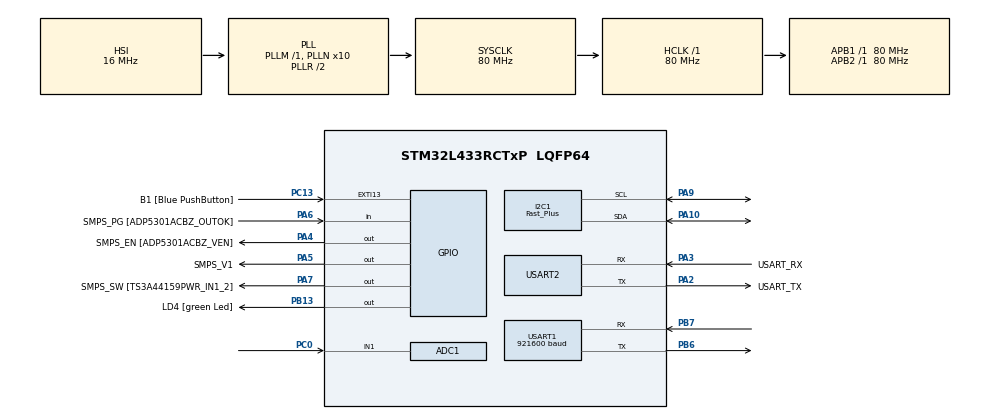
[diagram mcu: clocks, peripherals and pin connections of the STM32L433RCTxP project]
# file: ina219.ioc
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ADC1.Channel-1\#ChannelRegularConversion=ADC_CHANNEL_1
ADC1.NbrOfConversionFlag=1
ADC1.OffsetNumber-1\#ChannelRegularConversion=ADC_OFFSET_NONE
ADC1.Rank-1\#ChannelRegularConversion=1
ADC1.Resolution=ADC_RESOLUTION_8B
ADC1.SamplingTime-1\#ChannelRegularConversion=ADC_SAMPLETIME_2CYCLES_5
ADC1.master=1
Dma.I2C1_RX.0.Direction=DMA_PERIPH_TO_MEMORY
Dma.I2C1_RX.0.Instance=DMA1_Channel7
Dma.I2C1_RX.0.MemDataAlignment=DMA_MDATAALIGN_BYTE
Dma.I2C1_RX.0.MemInc=DMA_MINC_ENABLE
Dma.I2C1_RX.0.Mode=DMA_NORMAL
Dma.I2C1_RX.0.PeriphDataAlignment=DMA_PDATAALIGN_BYTE
Dma.I2C1_RX.0.PeriphInc=DMA_PINC_DISABLE
Dma.I2C1_RX.0.Priority=DMA_PRIORITY_LOW
Dma.Request0=I2C1_RX
I2C1.I2C_Speed_Mode=I2C_Fast_Plus
I2C1.Timing=0x00300F33
Mcu.Family=STM32L4
Mcu.Name=STM32L433RCTxP
Mcu.Package=LQFP64
NVIC.ADC1_IRQn=true\:0\:0\:false\:false\:true\:true\:true
NVIC.DMA1_Channel7_IRQn=true\:0\:0\:false\:false\:true\:false\:true
NVIC.PriorityGroup=NVIC_PRIORITYGROUP_4
NVIC.USART1_IRQn=true\:0\:0\:false\:false\:true\:true\:true
PA10.Mode=I2C
PA10.Signal=I2C1_SDA
PA13\ (JTMS-SWDIO).GPIO_Label=TMS
PA13\ (JTMS-SWDIO).Mode=Serial_Wire
PA13\ (JTMS-SWDIO).Signal=SYS_JTMS-SWDIO
PA14\ (JTCK-SWCLK).GPIO_Label=TCK
PA14\ (JTCK-SWCLK).Mode=Serial_Wire
PA14\ (JTCK-SWCLK).Signal=SYS_JTCK-SWCLK
PA2.GPIO_Label=USART_TX
PA2.GPIO_Mode=GPIO_MODE_AF_PP
PA2.GPIO_PuPd=GPIO_NOPULL
PA2.GPIO_Speed=GPIO_SPEED_FREQ_VERY_HIGH
PA2.Mode=Asynchronous
PA2.Signal=USART2_TX
PA3.GPIO_Label=USART_RX
PA3.GPIO_Mode=GPIO_MODE_AF_PP
PA3.GPIO_PuPd=GPIO_NOPULL
PA3.GPIO_Speed=GPIO_SPEED_FREQ_VERY_HIGH
PA3.Mode=Asynchronous
PA3.Signal=USART2_RX
PA4.GPIO_Label=SMPS_EN [ADP5301ACBZ_VEN]
PA4.Signal=GPIO_Output
PA5.GPIO_Label=SMPS_V1
PA5.GPIO_ModeDefaultOutputPP=GPIO_MODE_OUTPUT_PP
PA5.GPIO_PuPd=GPIO_NOPULL
PA5.GPIO_Speed=GPIO_SPEED_FREQ_LOW
PA5.Signal=GPIO_Output
PA6.GPIO_Label=SMPS_PG [ADP5301ACBZ_OUTOK]
PA6.GPIO_PuPd=GPIO_PULLUP
PA6.Signal=GPIO_Input
PA7.GPIO_Label=SMPS_SW [TS3A44159PWR_IN1_2]
PA7.Signal=GPIO_Output
PA9.Mode=I2C
PA9.Signal=I2C1_SCL
PB13.GPIO_Label=LD4 [green Led]
PB13.Signal=GPIO_Output
PB3\ (JTDO-TRACESWO).GPIO_Label=SWO
PB3\ (JTDO-TRACESWO).Signal=SYS_JTDO-SWO
PB6.Mode=Asynchronous
PB6.Signal=USART1_TX
PB7.Mode=Asynchronous
PB7.Signal=USART1_RX
PC0.Signal=ADCx_IN1
PC13.GPIO_Label=B1 [Blue PushButton]
PC13.GPIO_ModeDefaultEXTI=GPIO_MODE_IT_FALLING
PC13.GPIO_PuPd=GPIO_NOPULL
PC13.Signal=GPXTI13
PC14-OSC32_IN\ (PC14).Signal=RCC_OSC32_IN
PC15-OSC32_OUT\ (PC15).Signal=RCC_OSC32_OUT
PH0-OSC_IN\ (PH0).GPIO_Label=MCO
PH0-OSC_IN\ (PH0).Signal=RCC_OSC_IN
PH1-OSC_OUT\ (PH1).Signal=RCC_OSC_OUT
ProjectManager.HeapSize=0x200
ProjectManager.StackSize=0x400
ProjectManager.TargetToolchain=STM32CubeIDE
RCC.ADCFreq_Value=64000000
RCC.AHBFreq_Value=80000000
RCC.APB1Freq_Value=80000000
RCC.APB1TimFreq_Value=80000000
RCC.APB2Freq_Value=80000000
RCC.APB2TimFreq_Value=80000000
RCC.CortexFreq_Value=80000000
RCC.HCLKFreq_Value=80000000
RCC.HSE_VALUE=8000000
RCC.HSI48_VALUE=48000000
RCC.HSI_VALUE=16000000
RCC.LSE_VALUE=32768
RCC.MSI_VALUE=4000000
RCC.PLLN=10
RCC.PLLSourceVirtual=RCC_PLLSOURCE_HSI
RCC.PREFETCH_ENABLE=1
RCC.SYSCLKFreq_VALUE=80000000
RCC.SYSCLKSource=RCC_SYSCLKSOURCE_PLLCLK
RCC.USBFreq_Value=64000000
RCC.VCOOutputFreq_Value=160000000
SH.ADCx_IN1.0=ADC1_IN1,IN1-Single-Ended
USART1.BaudRate=921600
USART1.VirtualMode-Asynchronous=VM_ASYNC
USART2.VirtualMode-Asynchronous=VM_ASYNC
board=NUCLEO-L433RC-P

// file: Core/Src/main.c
/* USER CODE BEGIN Header */
/**
  ******************************************************************************
  * @file           : main.c
  * @brief          : Main program body
  ******************************************************************************
  * @attention
  *
  * <h2><center>&copy; Copyright (c) 2023 STMicroelectronics.
  * All rights reserved.</center></h2>
  *
  * This software component is licensed by ST under BSD 3-Clause license,
  * the "License"; You may not use this file except in compliance with the
  * License. You may obtain a copy of the License at:
  *                        opensource.org/licenses/BSD-3-Clause
  *
  ******************************************************************************
  */
/* USER CODE END Header */
#include "main.h"

/* USER CODE BEGIN Includes */
#include "ina219.h"
/* USER CODE END Includes */

ADC_HandleTypeDef hadc1;

I2C_HandleTypeDef hi2c1;
DMA_HandleTypeDef hdma_i2c1_rx;

UART_HandleTypeDef huart1;
UART_HandleTypeDef huart2;

/* USER CODE BEGIN PV */

extern int adrs_219;

/* USER CODE END PV */

void SystemClock_Config(void);
static void MX_GPIO_Init(void);
static void MX_I2C1_Init(void);
static void MX_DMA_Init(void);
static void MX_USART2_UART_Init(void);
static void MX_USART1_UART_Init(void);
static void MX_ADC1_Init(void);

/* USER CODE BEGIN 0 */
uint8_t str[16];
uint16_t ina_curr;
uint32_t ina_vol = 0;
uint32_t ina_pwr = 0;
uint8_t cnt = 0;
uint8_t channel=0;
uint8_t count_ADC;
uint8_t a;
uint8_t b;
int flag = 0;

/* USER CODE END 0 */

int main(void)
{

  /* MCU Configuration--------------------------------------------------------*/

  /* Reset of all peripherals, Initializes the Flash interface and the Systick. */
  HAL_Init();

  /* Configure the system clock */
  SystemClock_Config();

  /* Initialize all configured peripherals */
  MX_GPIO_Init();
  MX_I2C1_Init();
  MX_DMA_Init();
  MX_USART2_UART_Init();
  MX_USART1_UART_Init();
  MX_ADC1_Init();
  /* USER CODE BEGIN 2 */
  uint8_t data[2];
  //data[0]= 0x55;
  //data[1]= 0x11;

  //uint8_t Tumpoy_Andrey_V_1 = 0x55;
  //uint8_t Tumpoy_Andrey_V_2 = 0xAA;
  adrs_219 = 0x40;
  setCalibration_32V_2A();
  HAL_ADCEx_Calibration_Start (&hadc1,ADC_SINGLE_ENDED);
  HAL_Delay(10);

  /* USER CODE END 2 */

  /* Infinite loop */
  while (1)
  {

    /* USER CODE BEGIN 3 */
	  HAL_UART_Receive(&huart1,str, 1, 1000);
	  	  	  //HAL_UART_Transmit(&huart1,&str, sizeof(str), 100);

	  if (str[0] == 65) {
	  	  	  	  	  	 while (1) {
	  	  			  	  	  ina_curr = getCurrent_raw();

	  	  			  	  	  HAL_ADC_Start(&hadc1);
	  	  			  		  HAL_ADC_PollForConversion(&hadc1, 1);
	  	  			  	  	  count_ADC = HAL_ADC_GetValue(&hadc1);
	  	  			  	  	  HAL_ADC_Stop(&hadc1);
	  	  			  	  	  // HAL function calibrate

	  	  			  	  	  data[0] = (uint8_t)(ina_curr>>1);
	  	  			  	  	  //data[0]=2*data[0];
	  	  			  	  	  a=data[0];
	  	  			  	  	  data[1] = count_ADC;
	  	  			  	  	  b=data[1];
	  	  			  	  	  HAL_UART_Transmit(&huart1, data,2,10);

	  	  		 }

	  	  	  }
  }
  /* USER CODE END 3 */
}

void SystemClock_Config(void)
{
  RCC_OscInitTypeDef RCC_OscInitStruct = {0};
  RCC_ClkInitTypeDef RCC_ClkInitStruct = {0};

  /** Configure the main internal regulator output voltage
  */
  if (HAL_PWREx_ControlVoltageScaling(PWR_REGULATOR_VOLTAGE_SCALE1) != HAL_OK)
  {
    Error_Handler();
  }
  /** Initializes the RCC Oscillators according to the specified parameters
  * in the RCC_OscInitTypeDef structure.
  */
  RCC_OscInitStruct.OscillatorType = RCC_OSCILLATORTYPE_HSI;
  RCC_OscInitStruct.HSIState = RCC_HSI_ON;
  RCC_OscInitStruct.HSICalibrationValue = RCC_HSICALIBRATION_DEFAULT;
  RCC_OscInitStruct.PLL.PLLState = RCC_PLL_ON;
  RCC_OscInitStruct.PLL.PLLSource = RCC_PLLSOURCE_HSI;
  RCC_OscInitStruct.PLL.PLLM = 1;
  RCC_OscInitStruct.PLL.PLLN = 10;
  RCC_OscInitStruct.PLL.PLLP = RCC_PLLP_DIV7;
  RCC_OscInitStruct.PLL.PLLQ = RCC_PLLQ_DIV2;
  RCC_OscInitStruct.PLL.PLLR = RCC_PLLR_DIV2;
  if (HAL_RCC_OscConfig(&RCC_OscInitStruct) != HAL_OK)
  {
    Error_Handler();
  }
  /** Initializes the CPU, AHB and APB buses clocks
  */
  RCC_ClkInitStruct.ClockType = RCC_CLOCKTYPE_HCLK|RCC_CLOCKTYPE_SYSCLK
                              |RCC_CLOCKTYPE_PCLK1|RCC_CLOCKTYPE_PCLK2;
  RCC_ClkInitStruct.SYSCLKSource = RCC_SYSCLKSOURCE_PLLCLK;
  RCC_ClkInitStruct.AHBCLKDivider = RCC_SYSCLK_DIV1;
  RCC_ClkInitStruct.APB1CLKDivider = RCC_HCLK_DIV1;
  RCC_ClkInitStruct.APB2CLKDivider = RCC_HCLK_DIV1;

  if (HAL_RCC_ClockConfig(&RCC_ClkInitStruct, FLASH_LATENCY_4) != HAL_OK)
  {
    Error_Handler();
  }
}

static void MX_ADC1_Init(void)
{

  ADC_ChannelConfTypeDef sConfig = {0};

  /** Common config
  */
  hadc1.Instance = ADC1;
  hadc1.Init.ClockPrescaler = ADC_CLOCK_ASYNC_DIV1;
  hadc1.Init.Resolution = ADC_RESOLUTION_8B;
  hadc1.Init.DataAlign = ADC_DATAALIGN_RIGHT;
  hadc1.Init.ScanConvMode = ADC_SCAN_DISABLE;
  hadc1.Init.EOCSelection = ADC_EOC_SINGLE_CONV;
  hadc1.Init.LowPowerAutoWait = DISABLE;
  hadc1.Init.ContinuousConvMode = DISABLE;
  hadc1.Init.NbrOfConversion = 1;
  hadc1.Init.DiscontinuousConvMode = DISABLE;
  hadc1.Init.ExternalTrigConv = ADC_SOFTWARE_START;
  hadc1.Init.ExternalTrigConvEdge = ADC_EXTERNALTRIGCONVEDGE_NONE;
  hadc1.Init.DMAContinuousRequests = DISABLE;
  hadc1.Init.Overrun = ADC_OVR_DATA_PRESERVED;
  hadc1.Init.OversamplingMode = DISABLE;
  if (HAL_ADC_Init(&hadc1) != HAL_OK)
  {
    Error_Handler();
  }
  /** Configure Regular Channel
  */
  sConfig.Channel = ADC_CHANNEL_1;
  sConfig.Rank = ADC_REGULAR_RANK_1;
  sConfig.SamplingTime = ADC_SAMPLETIME_2CYCLES_5;
  sConfig.SingleDiff = ADC_SINGLE_ENDED;
  sConfig.OffsetNumber = ADC_OFFSET_NONE;
  sConfig.Offset = 0;
  if (HAL_ADC_ConfigChannel(&hadc1, &sConfig) != HAL_OK)
  {
    Error_Handler();
  }

}

static void MX_I2C1_Init(void)
{

  hi2c1.Instance = I2C1;
  hi2c1.Init.Timing = 0x00300F33;
  hi2c1.Init.OwnAddress1 = 0;
  hi2c1.Init.AddressingMode = I2C_ADDRESSINGMODE_7BIT;
  hi2c1.Init.DualAddressMode = I2C_DUALADDRESS_DISABLE;
  hi2c1.Init.OwnAddress2 = 0;
  hi2c1.Init.OwnAddress2Masks = I2C_OA2_NOMASK;
  hi2c1.Init.GeneralCallMode = I2C_GENERALCALL_DISABLE;
  hi2c1.Init.NoStretchMode = I2C_NOSTRETCH_DISABLE;
  if (HAL_I2C_Init(&hi2c1) != HAL_OK)
  {
    Error_Handler();
  }
  /** Configure Analogue filter
  */
  if (HAL_I2CEx_ConfigAnalogFilter(&hi2c1, I2C_ANALOGFILTER_ENABLE) != HAL_OK)
  {
    Error_Handler();
  }
  /** Configure Digital filter
  */
  if (HAL_I2CEx_ConfigDigitalFilter(&hi2c1, 0) != HAL_OK)
  {
    Error_Handler();
  }
  /** I2C Fast mode Plus enable
  */
  HAL_I2CEx_EnableFastModePlus(I2C_FASTMODEPLUS_I2C1);

}

static void MX_USART1_UART_Init(void)
{

  huart1.Instance = USART1;
  huart1.Init.BaudRate = 921600;
  huart1.Init.WordLength = UART_WORDLENGTH_8B;
  huart1.Init.StopBits = UART_STOPBITS_1;
  huart1.Init.Parity = UART_PARITY_NONE;
  huart1.Init.Mode = UART_MODE_TX_RX;
  huart1.Init.HwFlowCtl = UART_HWCONTROL_NONE;
  huart1.Init.OverSampling = UART_OVERSAMPLING_16;
  huart1.Init.OneBitSampling = UART_ONE_BIT_SAMPLE_DISABLE;
  huart1.AdvancedInit.AdvFeatureInit = UART_ADVFEATURE_NO_INIT;
  if (HAL_UART_Init(&huart1) != HAL_OK)
  {
    Error_Handler();
  }

}

static void MX_USART2_UART_Init(void)
{

  huart2.Instance = USART2;
  huart2.Init.BaudRate = 115200;
  huart2.Init.WordLength = UART_WORDLENGTH_8B;
  huart2.Init.StopBits = UART_STOPBITS_1;
  huart2.Init.Parity = UART_PARITY_NONE;
  huart2.Init.Mode = UART_MODE_TX_RX;
  huart2.Init.HwFlowCtl = UART_HWCONTROL_NONE;
  huart2.Init.OverSampling = UART_OVERSAMPLING_16;
  huart2.Init.OneBitSampling = UART_ONE_BIT_SAMPLE_DISABLE;
  huart2.AdvancedInit.AdvFeatureInit = UART_ADVFEATURE_NO_INIT;
  if (HAL_UART_Init(&huart2) != HAL_OK)
  {
    Error_Handler();
  }

}

static void MX_DMA_Init(void)
{

  /* DMA controller clock enable */
  __HAL_RCC_DMA1_CLK_ENABLE();

  /* DMA interrupt init */
  /* DMA1_Channel7_IRQn interrupt configuration */
  HAL_NVIC_SetPriority(DMA1_Channel7_IRQn, 0, 0);
  HAL_NVIC_EnableIRQ(DMA1_Channel7_IRQn);

}

static void MX_GPIO_Init(void)
{
  GPIO_InitTypeDef GPIO_InitStruct = {0};

  /* GPIO Ports Clock Enable */
  __HAL_RCC_GPIOC_CLK_ENABLE();
  __HAL_RCC_GPIOH_CLK_ENABLE();
  __HAL_RCC_GPIOA_CLK_ENABLE();
  __HAL_RCC_GPIOB_CLK_ENABLE();

  /*Configure GPIO pin Output Level */
  HAL_GPIO_WritePin(GPIOA, SMPS_EN_Pin|SMPS_V1_Pin|SMPS_SW_Pin, GPIO_PIN_RESET);

  /*Configure GPIO pin Output Level */
  HAL_GPIO_WritePin(LD4_GPIO_Port, LD4_Pin, GPIO_PIN_RESET);

  /*Configure GPIO pin : B1_Pin */
  GPIO_InitStruct.Pin = B1_Pin;
  GPIO_InitStruct.Mode = GPIO_MODE_IT_FALLING;
  GPIO_InitStruct.Pull = GPIO_NOPULL;
  HAL_GPIO_Init(B1_GPIO_Port, &GPIO_InitStruct);

  /*Configure GPIO pins : SMPS_EN_Pin SMPS_V1_Pin SMPS_SW_Pin */
  GPIO_InitStruct.Pin = SMPS_EN_Pin|SMPS_V1_Pin|SMPS_SW_Pin;
  GPIO_InitStruct.Mode = GPIO_MODE_OUTPUT_PP;
  GPIO_InitStruct.Pull = GPIO_NOPULL;
  GPIO_InitStruct.Speed = GPIO_SPEED_FREQ_LOW;
  HAL_GPIO_Init(GPIOA, &GPIO_InitStruct);

  /*Configure GPIO pin : SMPS_PG_Pin */
  GPIO_InitStruct.Pin = SMPS_PG_Pin;
  GPIO_InitStruct.Mode = GPIO_MODE_INPUT;
  GPIO_InitStruct.Pull = GPIO_PULLUP;
  HAL_GPIO_Init(SMPS_PG_GPIO_Port, &GPIO_InitStruct);

  /*Configure GPIO pin : LD4_Pin */
  GPIO_InitStruct.Pin = LD4_Pin;
  GPIO_InitStruct.Mode = GPIO_MODE_OUTPUT_PP;
  GPIO_InitStruct.Pull = GPIO_NOPULL;
  GPIO_InitStruct.Speed = GPIO_SPEED_FREQ_LOW;
  HAL_GPIO_Init(LD4_GPIO_Port, &GPIO_InitStruct);

}

void Error_Handler(void)
{
  __disable_irq();
  while (1)
  {
  }
}

/************************ (C) COPYRIGHT STMicroelectronics *****END OF FILE****/
